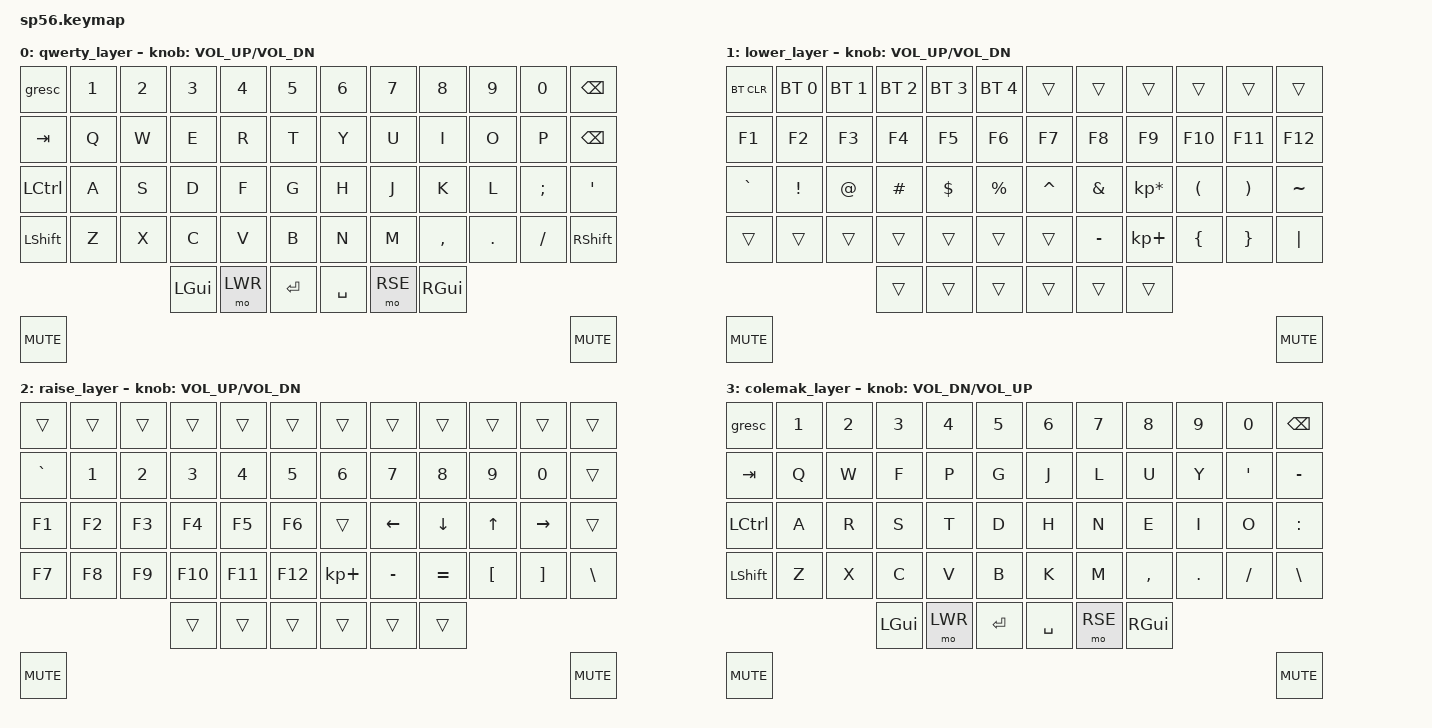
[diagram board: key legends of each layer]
/*
 * Copyright (c) 2020 Eric Lau
 *
 * SPDX-License-Identifier: MIT
 */

#include <behaviors.dtsi>
#include <dt-bindings/zmk/keys.h>
#include <dt-bindings/zmk/bt.h>

#define QWRT 0
#define LWR 1
#define RSE 2
#define COLE 3

/ {
        keymap {
                compatible = "zmk,keymap";


        qwerty_layer {
// -----------------------------------------------------------------------------------------
// | GRESC |  1  |  2  |  3  |  4  |  5  |      |  6  |  7  |  8   |  9  |  O  | BKSP |
// |  TAB  |  Q  |  W  |  E  |  R  |  T  |      |  Y  |  U   |  I  |  O  |  P  | BKSP |
// | CTRL  |  A  |  S  |  D  |  F  |  G  |      |  H  |  J   |  K  |  L  |  ;  |  '   |
// | SHFT  |  Z  |  X  |  C  |  V  |  B  |      |  N  |  M   |  ,  |  .  |  /  | SHFT |
//                     | GUI | LWR | SPC |      | ENT | RSE  | GUI | 
// | LEFT ENCODER |                                                   | RIGHT ENCODER |

                        bindings = <
   &gresc       &kp N1 &kp N2   &kp N3   &kp N4  &kp N5         &kp N6    &kp N7  &kp N8    &kp N9  &kp N0   &kp BSPC
   &kp TAB      &kp Q  &kp W    &kp E    &kp R   &kp T          &kp Y     &kp U   &kp I     &kp O   &kp P    &kp BSPC
   &kp LCTRL    &kp A  &kp S    &kp D    &kp F   &kp G          &kp H     &kp J   &kp K     &kp L   &kp SEMI &kp SQT
   &kp LSHFT    &kp Z  &kp X    &kp C    &kp V   &kp B          &kp N     &kp M   &kp COMMA &kp DOT &kp FSLH &kp RSHFT
                                &kp LGUI &mo LWR &kp RET        &kp SPACE &mo RSE &kp RGUI   
   &kp C_MUTE                                                                                                &kp C_MUTE
                        >;
			sensor-bindings = <&inc_dec_kp C_VOL_UP C_VOL_DN>;
                };
                
                lower_layer {
// ------------------------------------------------------------------------------------------------------------
// | BTCLR | BT1 | BT2 |  BT3 |  BT4 |  BT5 |                   |      |       |       |      |       |       |
// |  F1   |  F2 |  F3 |  F4  |  F5  |  F6  |                   |  F7  |  F8   |  F9   |  F10 |  F11  |  F12  |
// |   `   |  !  |  @  |  #   |  $   |  %   |                   |  ^   |  &    |  *    |  (   |   )   |   ~   |
// |       |     |     |      |      |      |                   |      |  _    |  +    |  {   |   }   |  "|"  |
//                     |      |      |      |                   |      |       |       |
// | LEFT ENCODER |                                                                           | RIGHT ENCODER |
			bindings = <
&bt BT_CLR &bt BT_SEL 0 &bt BT_SEL 1 &bt BT_SEL 2 &bt BT_SEL 3 &bt BT_SEL 4                 &trans    &trans    &trans          &trans    &trans    &trans
&kp F1     &kp F2       &kp F3       &kp F4       &kp F5       &kp F6                       &kp F7    &kp F8    &kp F9          &kp F10   &kp F11   &kp F12
&kp GRAVE  &kp EXCL     &kp AT       &kp HASH     &kp DOLLAR   &kp PRCNT                    &kp CARET &kp AMPS  &kp KP_MULTIPLY &kp LPAR  &kp RPAR  &kp TILDE
&trans     &trans       &trans       &trans       &trans       &trans                       &trans    &kp MINUS &kp KP_PLUS     &kp LBRC  &kp RBRC  &kp PIPE
                                     &trans       &trans       &trans                       &trans    &trans    &trans
&kp C_MUTE                                                                                                                                                        &kp C_MUTE
			>;

			sensor-bindings = <&inc_dec_kp C_VOL_UP C_VOL_DN>;
		};

		raise_layer {
// ------------------------------------------------------------------------------------------------------------
// |       |     |     |      |      |      |                   |      |       |       |      |       |       |
// |   `   |  1  |  2  |  3   |  4   |  5   |                   |  6   |   7   |   8   |  9   |   0   |       |
// |   F1  |  F2 |  F3 |  F4  |  F5  |  F6  |                   |      |   <-  |   ^   |  v   |  ->   |       |
// |   F7  |  F8 |  F9 |  F10 |  F11 |  F12 |                   |  +   |   -   |   =   |  [   |   ]   |   \   |
//                     |      |      |      |                   |      |       |       |
			bindings = <
&trans    &trans &trans &trans  &trans  &trans                       &trans      &trans    &trans    &trans   &trans    &trans
&kp GRAVE &kp N1 &kp N2 &kp N3  &kp N4  &kp N5                       &kp N6      &kp N7    &kp N8    &kp N9   &kp N0    &trans
&kp F1    &kp F2 &kp F3 &kp F4  &kp F5  &kp F6                       &trans      &kp LEFT  &kp DOWN  &kp UP   &kp RIGHT &trans
&kp F7    &kp F8 &kp F9 &kp F10 &kp F11 &kp F12                      &kp KP_PLUS &kp MINUS &kp EQUAL &kp LBKT &kp RBKT  &kp BSLH
                        &trans  &trans  &trans                       &trans      &trans    &trans
&kp C_MUTE                                                                                                              &kp C_MUTE

			>;

			sensor-bindings = <&inc_dec_kp C_VOL_UP C_VOL_DN>;
		};
                

                colemak_layer {
// -----------------------------------------------------------------------------------------
// | ESCAPE|  1  |  2  |  3  |  4  |  5  |      |  6  |  7  |  8   |  9  |  O  | BKSP  |
// |  TAB  |  Q  |  W  |  F  |  P  |  G  |      |  J  |  L   |  U  |  Y  |  '  | MINUS |
// | CTRL  |  A  |  R  |  S  |  T  |  D  |      |  H  |  N   |  E  |  I  |  O  |  :    |
// | SHFT  |  Z  |  X  |  C  |  V  |  B  |      |  K  |  M   |  ,  |  .  |  /  |  \    |
//                     | GUI | LWR | RET |      | SPC | RSE  | GUI | 
// | LEFT ENCODER |                                                  | RIGHT ENCODER |
                        bindings = <
   &gresc       &kp N1  &kp N2  &kp N3   &kp N4  &kp N5         &kp N6    &kp N7  &kp N8    &kp N9      &kp N0           &kp BSPC
   &kp TAB      &kp Q   &kp W   &kp F    &kp P   &kp G          &kp J     &kp L   &kp U     &kp Y       &kp SINGLE_QUOTE &kp MINUS
   &kp LCTRL    &kp A   &kp R   &kp S    &kp T   &kp D          &kp H     &kp N   &kp E     &kp I       &kp O            &kp COLON
   &kp LSHFT    &kp Z   &kp X   &kp C    &kp V   &kp B          &kp K     &kp M   &kp COMMA &kp DOT     &kp FSLH         &kp BSLH
                                &kp LGUI &mo LWR &kp RET        &kp SPACE &mo RSE &kp RGUI    
   &kp C_MUTE                                                                                                            &kp C_MUTE
                        >;
			sensor-bindings = <&inc_dec_kp C_VOL_DN C_VOL_UP>;
                };
        };
};
